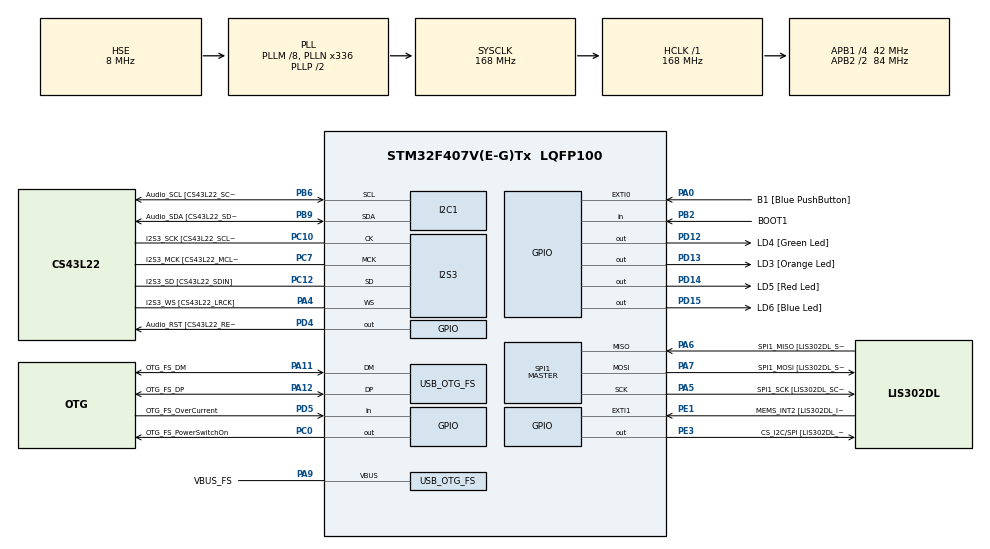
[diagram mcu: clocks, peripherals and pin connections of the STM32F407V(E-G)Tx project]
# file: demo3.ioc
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FREERTOS.BinarySemaphores01=myBinarySem01,Dynamic,NULL,Available;BonusSemaphore,Dynamic,NULL,Available
FREERTOS.Queues01=myQueue01,16,uint16_t,0,Dynamic,NULL,NULL;evaluateQueue,16,uint16_t,0,Dynamic,NULL,NULL;displayQueue,16,uint16_t,0,Dynamic,NULL,NULL
FREERTOS.Tasks01=defaultTask,24,128,StartDefaultTask,Default,NULL,Dynamic,NULL,NULL;producerTask,8,128,StartTask02,Default,NULL,Dynamic,NULL,NULL;consumerTask,8,128,StartTask03,Default,NULL,Dynamic,NULL,NULL;BonusTask1UserT,8,128,StartUserTasteTask,Default,NULL,Dynamic,NULL,NULL;BonusTaskRandom,8,128,StartBonusTaskRandomGen,Default,NULL,Dynamic,NULL,NULL;BonusTaskAuswer,8,128,StartBonusTaskAuswertung,Default,NULL,Dynamic,NULL,NULL;BoDisplayTas,8,128,StartBoDisplay,Default,NULL,Dynamic,NULL,NULL
FREERTOS.Timers01=myTimer01,Callback01,osTimerPeriodic,Default,NULL,Dynamic,NULL
I2S3.AudioFreq-Half_Duplex_Master=I2S_AUDIOFREQ_96K
I2S3.ErrorAudioFreq=-2.34 %
I2S3.ErrorAudioFreq-Half_Duplex_Master=0.8 %
I2S3.FullDuplexMode=I2S_FULLDUPLEXMODE_DISABLE
I2S3.Instance=SPI$Index
I2S3.RealAudioFreq=93.75 KHz
I2S3.RealAudioFreq-Half_Duplex_Master=96.774 KHz
I2S3.VirtualMode=I2S_MODE_MASTER
Mcu.Family=STM32F4
Mcu.Name=STM32F407V(E-G)Tx
Mcu.Package=LQFP100
NVIC.OTG_FS_IRQn=true\:5\:0\:false\:false\:true\:true\:true\:true\:true
NVIC.PriorityGroup=NVIC_PRIORITYGROUP_4
NVIC.TIM6_DAC_IRQn=true\:15\:0\:false\:false\:true\:false\:false\:true\:true
NVIC.TimeBase=TIM6_DAC_IRQn
NVIC.TimeBaseIP=TIM6
PA0-WKUP.GPIO_Label=B1 [Blue PushButton]
PA0-WKUP.GPIO_ModeDefaultEXTI=GPIO_MODE_EVT_RISING
PA0-WKUP.GPIO_PuPd=GPIO_NOPULL
PA0-WKUP.Signal=GPXTI0
PA10.GPIO_Label=OTG_FS_ID
PA10.GPIO_Mode=GPIO_MODE_AF_PP
PA10.GPIO_PuPd=GPIO_NOPULL
PA10.GPIO_Speed=GPIO_SPEED_FREQ_LOW
PA10.Signal=USB_OTG_FS_ID
PA11.GPIO_Label=OTG_FS_DM
PA11.GPIO_Mode=GPIO_MODE_AF_PP
PA11.GPIO_PuPd=GPIO_NOPULL
PA11.GPIO_Speed=GPIO_SPEED_FREQ_LOW
PA11.Mode=Host_Only
PA11.Signal=USB_OTG_FS_DM
PA12.GPIO_Label=OTG_FS_DP
PA12.GPIO_Mode=GPIO_MODE_AF_PP
PA12.GPIO_PuPd=GPIO_NOPULL
PA12.GPIO_Speed=GPIO_SPEED_FREQ_LOW
PA12.Mode=Host_Only
PA12.Signal=USB_OTG_FS_DP
PA13.GPIO_Label=SWDIO
PA13.Mode=Serial_Wire
PA13.Signal=SYS_JTMS-SWDIO
PA14.GPIO_Label=SWCLK
PA14.Mode=Serial_Wire
PA14.Signal=SYS_JTCK-SWCLK
PA4.GPIO_Label=I2S3_WS [CS43L22_LRCK]
PA4.GPIO_Mode=GPIO_MODE_AF_PP
PA4.GPIO_PuPd=GPIO_NOPULL
PA4.GPIO_Speed=GPIO_SPEED_FREQ_LOW
PA4.Mode=Half_Duplex_Master
PA4.Signal=I2S3_WS
PA5.GPIO_Label=SPI1_SCK [LIS302DL_SCL/SPC]
PA5.GPIO_Mode=GPIO_MODE_AF_PP
PA5.GPIO_PuPd=GPIO_NOPULL
PA5.GPIO_Speed=GPIO_SPEED_FREQ_LOW
PA5.Mode=Full_Duplex_Master
PA5.Signal=SPI1_SCK
PA6.GPIO_Label=SPI1_MISO [LIS302DL_SDO]
PA6.GPIO_Mode=GPIO_MODE_AF_PP
PA6.GPIO_PuPd=GPIO_NOPULL
PA6.GPIO_Speed=GPIO_SPEED_FREQ_LOW
PA6.Mode=Full_Duplex_Master
PA6.Signal=SPI1_MISO
PA7.GPIO_Label=SPI1_MOSI [LIS302DL_SDA/SDI/SDO]
PA7.GPIO_Mode=GPIO_MODE_AF_PP
PA7.GPIO_PuPd=GPIO_NOPULL
PA7.GPIO_Speed=GPIO_SPEED_FREQ_LOW
PA7.Mode=Full_Duplex_Master
PA7.Signal=SPI1_MOSI
PA9.GPIO_Label=VBUS_FS
PA9.GPIO_Mode=GPIO_MODE_INPUT
PA9.GPIO_PuPd=GPIO_NOPULL
PA9.Mode=Activate_VBUS
PA9.Signal=USB_OTG_FS_VBUS
PB10.GPIO_Label=CLK_IN [MP45DT02_CLK]
PB10.GPIO_Mode=GPIO_MODE_AF_PP
PB10.GPIO_PuPd=GPIO_NOPULL
PB10.GPIO_Speed=GPIO_SPEED_FREQ_LOW
PB10.Signal=I2S2_CK
PB2.GPIO_Label=BOOT1
PB2.GPIO_Mode=GPIO_MODE_INPUT
PB2.GPIO_PuPd=GPIO_NOPULL
PB2.Signal=GPIO_Input
PB3.GPIO_Label=SWO
PB3.Signal=SYS_JTDO-SWO
PB6.GPIO_Label=Audio_SCL [CS43L22_SCL]
PB6.GPIO_Mode=GPIO_MODE_AF_OD
PB6.GPIO_Pu=GPIO_PULLUP
PB6.GPIO_PuPd=GPIO_NOPULL
PB6.GPIO_Speed=GPIO_SPEED_FREQ_LOW
PB6.Mode=I2C
PB6.Signal=I2C1_SCL
PB9.GPIO_Label=Audio_SDA [CS43L22_SDA]
PB9.GPIO_Mode=GPIO_MODE_AF_OD
PB9.GPIO_Pu=GPIO_PULLUP
PB9.GPIO_PuPd=GPIO_NOPULL
PB9.GPIO_Speed=GPIO_SPEED_FREQ_LOW
PB9.Mode=I2C
PB9.Signal=I2C1_SDA
PC0.GPIO_Label=OTG_FS_PowerSwitchOn
PC0.GPIO_PuPd=GPIO_NOPULL
PC0.GPIO_Speed=GPIO_SPEED_FREQ_LOW
PC0.PinState=GPIO_PIN_SET
PC0.Signal=GPIO_Output
PC10.GPIO_Label=I2S3_SCK [CS43L22_SCLK]
PC10.GPIO_Mode=GPIO_MODE_AF_PP
PC10.GPIO_PuPd=GPIO_NOPULL
PC10.GPIO_Speed=GPIO_SPEED_FREQ_LOW
PC10.Mode=Half_Duplex_Master
PC10.Signal=I2S3_CK
PC12.GPIO_Label=I2S3_SD [CS43L22_SDIN]
PC12.GPIO_Mode=GPIO_MODE_AF_PP
PC12.GPIO_PuPd=GPIO_NOPULL
PC12.GPIO_Speed=GPIO_SPEED_FREQ_LOW
PC12.Mode=Half_Duplex_Master
PC12.Signal=I2S3_SD
PC14-OSC32_IN.GPIO_Label=PC14-OSC32_IN
PC14-OSC32_IN.Mode=LSE-External-Oscillator
PC14-OSC32_IN.Signal=RCC_OSC32_IN
PC15-OSC32_OUT.GPIO_Label=PC15-OSC32_OUT
PC15-OSC32_OUT.Mode=LSE-External-Oscillator
PC15-OSC32_OUT.Signal=RCC_OSC32_OUT
PC3.GPIO_Label=PDM_OUT [MP45DT02_DOUT]
PC3.GPIO_Mode=GPIO_MODE_AF_PP
PC3.GPIO_PuPd=GPIO_NOPULL
PC3.GPIO_Speed=GPIO_SPEED_FREQ_LOW
PC3.Signal=I2S2_SD
PC7.GPIO_Label=I2S3_MCK [CS43L22_MCLK]
PC7.GPIO_Mode=GPIO_MODE_AF_PP
PC7.GPIO_PuPd=GPIO_NOPULL
PC7.GPIO_Speed=GPIO_SPEED_FREQ_LOW
PC7.Mode=Master_Clock_Activated
PC7.Signal=I2S3_MCK
PD12.GPIO_Label=LD4 [Green Led]
PD12.GPIO_PuPd=GPIO_NOPULL
PD12.GPIO_Speed=GPIO_SPEED_FREQ_LOW
PD12.Signal=GPIO_Output
PD13.GPIO_Label=LD3 [Orange Led]
PD13.GPIO_PuPd=GPIO_NOPULL
PD13.GPIO_Speed=GPIO_SPEED_FREQ_LOW
PD13.Signal=GPIO_Output
PD14.GPIO_Label=LD5 [Red Led]
PD14.GPIO_PuPd=GPIO_NOPULL
PD14.GPIO_Speed=GPIO_SPEED_FREQ_LOW
PD14.Signal=GPIO_Output
PD15.GPIO_Label=LD6 [Blue Led]
PD15.GPIO_PuPd=GPIO_NOPULL
PD15.GPIO_Speed=GPIO_SPEED_FREQ_LOW
PD15.Signal=GPIO_Output
PD4.GPIO_Label=Audio_RST [CS43L22_RESET]
PD4.GPIO_PuPd=GPIO_NOPULL
PD4.GPIO_Speed=GPIO_SPEED_FREQ_LOW
PD4.Signal=GPIO_Output
PD5.GPIO_Label=OTG_FS_OverCurrent
PD5.GPIO_Mode=GPIO_MODE_INPUT
PD5.GPIO_PuPd=GPIO_NOPULL
PD5.Signal=GPIO_Input
PE1.GPIO_Label=MEMS_INT2 [LIS302DL_INT2]
PE1.GPIO_ModeDefaultEXTI=GPIO_MODE_EVT_RISING
PE1.GPIO_PuPd=GPIO_NOPULL
PE1.Signal=GPXTI1
PE3.GPIO_Label=CS_I2C/SPI [LIS302DL_CS_I2C/SPI]
PE3.GPIO_PuPd=GPIO_NOPULL
PE3.GPIO_Speed=GPIO_SPEED_FREQ_LOW
PE3.Signal=GPIO_Output
PH0-OSC_IN.GPIO_Label=PH0-OSC_IN
PH0-OSC_IN.Mode=HSE-External-Oscillator
PH0-OSC_IN.Signal=RCC_OSC_IN
PH1-OSC_OUT.GPIO_Label=PH1-OSC_OUT
PH1-OSC_OUT.Mode=HSE-External-Oscillator
PH1-OSC_OUT.Signal=RCC_OSC_OUT
ProjectManager.HeapSize=0x200
ProjectManager.StackSize=0x400
ProjectManager.TargetToolchain=STM32CubeIDE
RCC.48MHZClocksFreq_Value=48000000
RCC.AHBFreq_Value=168000000
RCC.APB1CLKDivider=RCC_HCLK_DIV4
RCC.APB1Freq_Value=42000000
RCC.APB1TimFreq_Value=84000000
RCC.APB2CLKDivider=RCC_HCLK_DIV2
RCC.APB2Freq_Value=84000000
RCC.APB2TimFreq_Value=168000000
RCC.CortexFreq_Value=168000000
RCC.HCLKFreq_Value=168000000
RCC.HSE_VALUE=8000000
RCC.HSI_VALUE=16000000
RCC.PLLM=8
RCC.PLLN=336
RCC.PLLQ=7
RCC.SYSCLKFreq_VALUE=168000000
RCC.SYSCLKSource=RCC_SYSCLKSOURCE_PLLCLK
RCC.VCOOutputFreq_Value=336000000
SPI1.BaudRatePrescaler-Full_Duplex_Master=SPI_BAUDRATEPRESCALER_2
SPI1.CalculateBaudRate-Full_Duplex_Master=42.0 MBits/s
SPI1.Direction=SPI_DIRECTION_2LINES
SPI1.Mode=SPI_MODE_MASTER
SPI1.Mode-Full_Duplex_Master=SPI_MODE_MASTER
SPI1.VirtualType=VM_MASTER
TIM7.Period=999
TIM7.Prescaler=83
USB_HOST.BSP.number=1
USB_HOST.USBH_HandleTypeDef-CDC_FS=hUsbHostFS
USB_HOST.VirtualModeFS=Cdc
USB_HOST0.BSP.STBoard=false
USB_HOST0.BSP.api=Unknown
USB_HOST0.BSP.instance=PC0
USB_HOST0.BSP.ip=GPIO
USB_HOST0.BSP.mode=Output
USB_HOST0.BSP.name=Drive_VBUS_FS
USB_HOST0.BSP.solution=PC0
USB_OTG_FS.VirtualMode=Host_Only
USB_OTG_FS.phy_itface=HCD_PHY_EMBEDDED
VP_FREERTOS_VS_CMSIS_V2.Mode=CMSIS_V2
VP_RNG_VS_RNG.Mode=RNG_Activate
VP_SYS_VS_tim6.Mode=TIM6
VP_TIM7_VS_ClockSourceINT.Mode=Enable_Timer
VP_USB_HOST_VS_USB_HOST_CDC_FS.Mode=CDC_FS
board=STM32F407G-DISC1

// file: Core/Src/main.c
/* USER CODE BEGIN Header */
/**
  ******************************************************************************
  * @file           : main.c
  * @brief          : Main program body
  ******************************************************************************
  * @attention
  *
  * Copyright (c) 2025 STMicroelectronics.
  * All rights reserved.
  *
  * This software is licensed under terms that can be found in the LICENSE file
  * in the root directory of this software component.
  * If no LICENSE file comes with this software, it is provided AS-IS.
  *
  ******************************************************************************
  */
/* USER CODE END Header */
#include "main.h"
#include "cmsis_os.h"
#include "usb_host.h"

/* USER CODE BEGIN Includes */
#include "stdio.h"
#include "display.h"
/* USER CODE END Includes */

/* USER CODE BEGIN PTD */
typedef enum{
  MSG_BUTTON,
  MSG_AVERAGE,
  MSG_ADC
}MessageType;

typedef struct{
	MessageType type;
	uint32_t value;
}DisplayMessage;
/* USER CODE END PTD */

I2C_HandleTypeDef hi2c1;

I2S_HandleTypeDef hi2s3;

RNG_HandleTypeDef hrng;

SPI_HandleTypeDef hspi1;

TIM_HandleTypeDef htim7;

/* Definitions for defaultTask */
osThreadId_t defaultTaskHandle;
const osThreadAttr_t defaultTask_attributes = {
  .name = "defaultTask",
  .stack_size = 128 * 4,
  .priority = (osPriority_t) osPriorityNormal,
};
/* Definitions for producerTask */
osThreadId_t producerTaskHandle;
const osThreadAttr_t producerTask_attributes = {
  .name = "producerTask",
  .stack_size = 128 * 4,
  .priority = (osPriority_t) osPriorityLow,
};
/* Definitions for consumerTask */
osThreadId_t consumerTaskHandle;
const osThreadAttr_t consumerTask_attributes = {
  .name = "consumerTask",
  .stack_size = 128 * 4,
  .priority = (osPriority_t) osPriorityLow,
};
/* Definitions for BonusTask1UserT */
osThreadId_t BonusTask1UserTHandle;
const osThreadAttr_t BonusTask1UserT_attributes = {
  .name = "BonusTask1UserT",
  .stack_size = 128 * 4,
  .priority = (osPriority_t) osPriorityLow,
};
/* Definitions for BonusTaskRandom */
osThreadId_t BonusTaskRandomHandle;
const osThreadAttr_t BonusTaskRandom_attributes = {
  .name = "BonusTaskRandom",
  .stack_size = 128 * 4,
  .priority = (osPriority_t) osPriorityLow,
};
/* Definitions for BonusTaskAuswer */
osThreadId_t BonusTaskAuswerHandle;
const osThreadAttr_t BonusTaskAuswer_attributes = {
  .name = "BonusTaskAuswer",
  .stack_size = 128 * 4,
  .priority = (osPriority_t) osPriorityLow,
};
/* Definitions for BoDisplayTas */
osThreadId_t BoDisplayTasHandle;
const osThreadAttr_t BoDisplayTas_attributes = {
  .name = "BoDisplayTas",
  .stack_size = 128 * 4,
  .priority = (osPriority_t) osPriorityLow,
};
/* Definitions for myQueue01 */
osMessageQueueId_t myQueue01Handle;
const osMessageQueueAttr_t myQueue01_attributes = {
  .name = "myQueue01"
};
/* Definitions for evaluateQueue */
osMessageQueueId_t evaluateQueueHandle;
const osMessageQueueAttr_t evaluateQueue_attributes = {
  .name = "evaluateQueue"
};
/* Definitions for displayQueue */
osMessageQueueId_t displayQueueHandle;
const osMessageQueueAttr_t displayQueue_attributes = {
  .name = "displayQueue"
};
/* Definitions for myTimer01 */
osTimerId_t myTimer01Handle;
const osTimerAttr_t myTimer01_attributes = {
  .name = "myTimer01"
};
/* Definitions for myBinarySem01 */
osSemaphoreId_t myBinarySem01Handle;
const osSemaphoreAttr_t myBinarySem01_attributes = {
  .name = "myBinarySem01"
};
/* Definitions for BonusSemaphore */
osSemaphoreId_t BonusSemaphoreHandle;
const osSemaphoreAttr_t BonusSemaphore_attributes = {
  .name = "BonusSemaphore"
};

void SystemClock_Config(void);
static void MX_GPIO_Init(void);
static void MX_I2C1_Init(void);
static void MX_I2S3_Init(void);
static void MX_SPI1_Init(void);
static void MX_TIM7_Init(void);
static void MX_RNG_Init(void);
void StartDefaultTask(void *argument);
void StartTask02(void *argument);
void StartTask03(void *argument);
void StartUserTasteTask(void *argument);
void StartBonusTaskRandomGen(void *argument);
void StartBonusTaskAuswertung(void *argument);
void StartBoDisplay(void *argument);
void StartBonusTaskAdc(void *argument);
void Callback01(void *argument);

/* USER CODE BEGIN 0 */
  uint32_t count = 0;
	uint32_t sum = 0;
	uint32_t average = 0;
  volatile uint32_t ledBlinkCounter = 0;
/* USER CODE END 0 */

int main(void)
{

  /* MCU Configuration--------------------------------------------------------*/

  /* Reset of all peripherals, Initializes the Flash interface and the Systick. */
  HAL_Init();

  /* Configure the system clock */
  SystemClock_Config();

  /* Initialize all configured peripherals */
  MX_GPIO_Init();
  MX_I2C1_Init();
  MX_I2S3_Init();
  MX_SPI1_Init();
  MX_TIM7_Init();
  MX_RNG_Init();
  /* USER CODE BEGIN 2 */
  LCD_Init();
  /* USER CODE END 2 */

  /* Init scheduler */
  osKernelInitialize();

  /* Create the semaphores(s) */
  /* creation of myBinarySem01 */
  myBinarySem01Handle = osSemaphoreNew(1, 1, &myBinarySem01_attributes);

  /* creation of BonusSemaphore */
  BonusSemaphoreHandle = osSemaphoreNew(1, 1, &BonusSemaphore_attributes);

  /* Create the timer(s) */
  /* creation of myTimer01 */
  myTimer01Handle = osTimerNew(Callback01, osTimerPeriodic, NULL, &myTimer01_attributes);

  /* Create the queue(s) */
  /* creation of myQueue01 */
  myQueue01Handle = osMessageQueueNew (16, sizeof(uint32_t), &myQueue01_attributes);

  /* creation of evaluateQueue */
  evaluateQueueHandle = osMessageQueueNew (16, sizeof(uint32_t), &evaluateQueue_attributes);

  /* creation of displayQueue */
  displayQueueHandle = osMessageQueueNew (16, sizeof(DisplayMessage), &displayQueue_attributes);

  /* Create the thread(s) */
  /* creation of defaultTask */
  defaultTaskHandle = osThreadNew(StartDefaultTask, NULL, &defaultTask_attributes);

  /* creation of producerTask */
  producerTaskHandle = osThreadNew(StartTask02, NULL, &producerTask_attributes);

  /* creation of consumerTask */
  consumerTaskHandle = osThreadNew(StartTask03, NULL, &consumerTask_attributes);

  /* creation of BonusTask1UserT */
  BonusTask1UserTHandle = osThreadNew(StartUserTasteTask, NULL, &BonusTask1UserT_attributes);

  /* creation of BonusTaskRandom */
  BonusTaskRandomHandle = osThreadNew(StartBonusTaskRandomGen, NULL, &BonusTaskRandom_attributes);

  /* creation of BonusTaskAuswer */
  BonusTaskAuswerHandle = osThreadNew(StartBonusTaskAuswertung, NULL, &BonusTaskAuswer_attributes);

  /* creation of BoDisplayTas */
  BoDisplayTasHandle = osThreadNew(StartBoDisplay, NULL, &BoDisplayTas_attributes);

  /* creation of a simple ADC task (simulated via RNG to keep it functional) */
  static const osThreadAttr_t BonusTaskAdc_attributes = {
    .name = "BonusTaskADC",
    .stack_size = 128 * 4,
    .priority = (osPriority_t) osPriorityLow,
  };
  (void)osThreadNew(StartBonusTaskAdc, NULL, &BonusTaskAdc_attributes);

  /* Start scheduler */
  osKernelStart();

  /* We should never get here as control is now taken by the scheduler */

  /* Infinite loop */
  while (1)
  {

  }
}

void SystemClock_Config(void)
{
  RCC_OscInitTypeDef RCC_OscInitStruct = {0};
  RCC_ClkInitTypeDef RCC_ClkInitStruct = {0};

  /** Configure the main internal regulator output voltage
  */
  __HAL_RCC_PWR_CLK_ENABLE();
  __HAL_PWR_VOLTAGESCALING_CONFIG(PWR_REGULATOR_VOLTAGE_SCALE1);

  /** Initializes the RCC Oscillators according to the specified parameters
  * in the RCC_OscInitTypeDef structure.
  */
  RCC_OscInitStruct.OscillatorType = RCC_OSCILLATORTYPE_HSE;
  RCC_OscInitStruct.HSEState = RCC_HSE_ON;
  RCC_OscInitStruct.PLL.PLLState = RCC_PLL_ON;
  RCC_OscInitStruct.PLL.PLLSource = RCC_PLLSOURCE_HSE;
  RCC_OscInitStruct.PLL.PLLM = 8;
  RCC_OscInitStruct.PLL.PLLN = 336;
  RCC_OscInitStruct.PLL.PLLP = RCC_PLLP_DIV2;
  RCC_OscInitStruct.PLL.PLLQ = 7;
  if (HAL_RCC_OscConfig(&RCC_OscInitStruct) != HAL_OK)
  {
    Error_Handler();
  }

  /** Initializes the CPU, AHB and APB buses clocks
  */
  RCC_ClkInitStruct.ClockType = RCC_CLOCKTYPE_HCLK|RCC_CLOCKTYPE_SYSCLK
                              |RCC_CLOCKTYPE_PCLK1|RCC_CLOCKTYPE_PCLK2;
  RCC_ClkInitStruct.SYSCLKSource = RCC_SYSCLKSOURCE_PLLCLK;
  RCC_ClkInitStruct.AHBCLKDivider = RCC_SYSCLK_DIV1;
  RCC_ClkInitStruct.APB1CLKDivider = RCC_HCLK_DIV4;
  RCC_ClkInitStruct.APB2CLKDivider = RCC_HCLK_DIV2;

  if (HAL_RCC_ClockConfig(&RCC_ClkInitStruct, FLASH_LATENCY_5) != HAL_OK)
  {
    Error_Handler();
  }
}

static void MX_I2C1_Init(void)
{

  hi2c1.Instance = I2C1;
  hi2c1.Init.ClockSpeed = 100000;
  hi2c1.Init.DutyCycle = I2C_DUTYCYCLE_2;
  hi2c1.Init.OwnAddress1 = 0;
  hi2c1.Init.AddressingMode = I2C_ADDRESSINGMODE_7BIT;
  hi2c1.Init.DualAddressMode = I2C_DUALADDRESS_DISABLE;
  hi2c1.Init.OwnAddress2 = 0;
  hi2c1.Init.GeneralCallMode = I2C_GENERALCALL_DISABLE;
  hi2c1.Init.NoStretchMode = I2C_NOSTRETCH_DISABLE;
  if (HAL_I2C_Init(&hi2c1) != HAL_OK)
  {
    Error_Handler();
  }

}

static void MX_I2S3_Init(void)
{

  hi2s3.Instance = SPI3;
  hi2s3.Init.Mode = I2S_MODE_MASTER_TX;
  hi2s3.Init.Standard = I2S_STANDARD_PHILIPS;
  hi2s3.Init.DataFormat = I2S_DATAFORMAT_16B;
  hi2s3.Init.MCLKOutput = I2S_MCLKOUTPUT_ENABLE;
  hi2s3.Init.AudioFreq = I2S_AUDIOFREQ_96K;
  hi2s3.Init.CPOL = I2S_CPOL_LOW;
  hi2s3.Init.ClockSource = I2S_CLOCK_PLL;
  hi2s3.Init.FullDuplexMode = I2S_FULLDUPLEXMODE_DISABLE;
  if (HAL_I2S_Init(&hi2s3) != HAL_OK)
  {
    Error_Handler();
  }

}

static void MX_RNG_Init(void)
{

  hrng.Instance = RNG;
  if (HAL_RNG_Init(&hrng) != HAL_OK)
  {
    Error_Handler();
  }

}

static void MX_SPI1_Init(void)
{

  /* SPI1 parameter configuration*/
  hspi1.Instance = SPI1;
  hspi1.Init.Mode = SPI_MODE_MASTER;
  hspi1.Init.Direction = SPI_DIRECTION_2LINES;
  hspi1.Init.DataSize = SPI_DATASIZE_8BIT;
  hspi1.Init.CLKPolarity = SPI_POLARITY_LOW;
  hspi1.Init.CLKPhase = SPI_PHASE_1EDGE;
  hspi1.Init.NSS = SPI_NSS_SOFT;
  hspi1.Init.BaudRatePrescaler = SPI_BAUDRATEPRESCALER_2;
  hspi1.Init.FirstBit = SPI_FIRSTBIT_MSB;
  hspi1.Init.TIMode = SPI_TIMODE_DISABLE;
  hspi1.Init.CRCCalculation = SPI_CRCCALCULATION_DISABLE;
  hspi1.Init.CRCPolynomial = 10;
  if (HAL_SPI_Init(&hspi1) != HAL_OK)
  {
    Error_Handler();
  }

}

static void MX_TIM7_Init(void)
{

  TIM_MasterConfigTypeDef sMasterConfig = {0};

  htim7.Instance = TIM7;
  htim7.Init.Prescaler = 83;
  htim7.Init.CounterMode = TIM_COUNTERMODE_UP;
  htim7.Init.Period = 999;
  htim7.Init.AutoReloadPreload = TIM_AUTORELOAD_PRELOAD_DISABLE;
  if (HAL_TIM_Base_Init(&htim7) != HAL_OK)
  {
    Error_Handler();
  }
  sMasterConfig.MasterOutputTrigger = TIM_TRGO_RESET;
  sMasterConfig.MasterSlaveMode = TIM_MASTERSLAVEMODE_DISABLE;
  if (HAL_TIMEx_MasterConfigSynchronization(&htim7, &sMasterConfig) != HAL_OK)
  {
    Error_Handler();
  }

}

static void MX_GPIO_Init(void)
{
  GPIO_InitTypeDef GPIO_InitStruct = {0};

  /* GPIO Ports Clock Enable */
  __HAL_RCC_GPIOE_CLK_ENABLE();
  __HAL_RCC_GPIOC_CLK_ENABLE();
  __HAL_RCC_GPIOH_CLK_ENABLE();
  __HAL_RCC_GPIOA_CLK_ENABLE();
  __HAL_RCC_GPIOB_CLK_ENABLE();
  __HAL_RCC_GPIOD_CLK_ENABLE();

  /*Configure GPIO pin Output Level */
  HAL_GPIO_WritePin(CS_I2C_SPI_GPIO_Port, CS_I2C_SPI_Pin, GPIO_PIN_RESET);

  /*Configure GPIO pin Output Level */
  HAL_GPIO_WritePin(OTG_FS_PowerSwitchOn_GPIO_Port, OTG_FS_PowerSwitchOn_Pin, GPIO_PIN_SET);

  /*Configure GPIO pin Output Level */
  HAL_GPIO_WritePin(GPIOD, LD4_Pin|LD3_Pin|LD5_Pin|LD6_Pin
                          |Audio_RST_Pin, GPIO_PIN_RESET);

  /*Configure GPIO pin : CS_I2C_SPI_Pin */
  GPIO_InitStruct.Pin = CS_I2C_SPI_Pin;
  GPIO_InitStruct.Mode = GPIO_MODE_OUTPUT_PP;
  GPIO_InitStruct.Pull = GPIO_NOPULL;
  GPIO_InitStruct.Speed = GPIO_SPEED_FREQ_LOW;
  HAL_GPIO_Init(CS_I2C_SPI_GPIO_Port, &GPIO_InitStruct);

  /*Configure GPIO pin : OTG_FS_PowerSwitchOn_Pin */
  GPIO_InitStruct.Pin = OTG_FS_PowerSwitchOn_Pin;
  GPIO_InitStruct.Mode = GPIO_MODE_OUTPUT_PP;
  GPIO_InitStruct.Pull = GPIO_NOPULL;
  GPIO_InitStruct.Speed = GPIO_SPEED_FREQ_LOW;
  HAL_GPIO_Init(OTG_FS_PowerSwitchOn_GPIO_Port, &GPIO_InitStruct);

  /*Configure GPIO pin : PDM_OUT_Pin */
  GPIO_InitStruct.Pin = PDM_OUT_Pin;
  GPIO_InitStruct.Mode = GPIO_MODE_AF_PP;
  GPIO_InitStruct.Pull = GPIO_NOPULL;
  GPIO_InitStruct.Speed = GPIO_SPEED_FREQ_LOW;
  GPIO_InitStruct.Alternate = GPIO_AF5_SPI2;
  HAL_GPIO_Init(PDM_OUT_GPIO_Port, &GPIO_InitStruct);

  /*Configure GPIO pin : B1_Pin */
  GPIO_InitStruct.Pin = B1_Pin;
  GPIO_InitStruct.Mode = GPIO_MODE_EVT_RISING;
  GPIO_InitStruct.Pull = GPIO_NOPULL;
  HAL_GPIO_Init(B1_GPIO_Port, &GPIO_InitStruct);

  /*Configure GPIO pin : BOOT1_Pin */
  GPIO_InitStruct.Pin = BOOT1_Pin;
  GPIO_InitStruct.Mode = GPIO_MODE_INPUT;
  GPIO_InitStruct.Pull = GPIO_NOPULL;
  HAL_GPIO_Init(BOOT1_GPIO_Port, &GPIO_InitStruct);

  /*Configure GPIO pin : CLK_IN_Pin */
  GPIO_InitStruct.Pin = CLK_IN_Pin;
  GPIO_InitStruct.Mode = GPIO_MODE_AF_PP;
  GPIO_InitStruct.Pull = GPIO_NOPULL;
  GPIO_InitStruct.Speed = GPIO_SPEED_FREQ_LOW;
  GPIO_InitStruct.Alternate = GPIO_AF5_SPI2;
  HAL_GPIO_Init(CLK_IN_GPIO_Port, &GPIO_InitStruct);

  /*Configure GPIO pins : LD4_Pin LD3_Pin LD5_Pin LD6_Pin
                           Audio_RST_Pin */
  GPIO_InitStruct.Pin = LD4_Pin|LD3_Pin|LD5_Pin|LD6_Pin
                          |Audio_RST_Pin;
  GPIO_InitStruct.Mode = GPIO_MODE_OUTPUT_PP;
  GPIO_InitStruct.Pull = GPIO_NOPULL;
  GPIO_InitStruct.Speed = GPIO_SPEED_FREQ_LOW;
  HAL_GPIO_Init(GPIOD, &GPIO_InitStruct);

  /*Configure GPIO pin : OTG_FS_OverCurrent_Pin */
  GPIO_InitStruct.Pin = OTG_FS_OverCurrent_Pin;
  GPIO_InitStruct.Mode = GPIO_MODE_INPUT;
  GPIO_InitStruct.Pull = GPIO_NOPULL;
  HAL_GPIO_Init(OTG_FS_OverCurrent_GPIO_Port, &GPIO_InitStruct);

  /*Configure GPIO pin : MEMS_INT2_Pin */
  GPIO_InitStruct.Pin = MEMS_INT2_Pin;
  GPIO_InitStruct.Mode = GPIO_MODE_EVT_RISING;
  GPIO_InitStruct.Pull = GPIO_NOPULL;
  HAL_GPIO_Init(MEMS_INT2_GPIO_Port, &GPIO_InitStruct);

}

void StartDefaultTask(void *argument)
{
  /* init code for USB_HOST */
  MX_USB_HOST_Init();
  /* USER CODE BEGIN 5 */
  osTimerStart(myTimer01Handle, 500);
  //HAL_TIM_Base_Start_IT(&htim7);
  HAL_TIM_Base_Start_IT(&htim7);
  /* Infinite loop */
  for(;;)
  {

	  if(HAL_GPIO_ReadPin(GPIOA, GPIO_PIN_0)){
	  	  	  HAL_GPIO_TogglePin(GPIOD, GPIO_PIN_12);
	  	  }
	  osDelay(500);

  }
  /* USER CODE END 5 */
}

void StartTask02(void *argument)
{
  /* USER CODE BEGIN StartTask02 */
	//producer
  /* Infinite loop */

  for(;;)
  {
    for(uint32_t i=1; i<=10; i++){
    	uint32_t value;
    	HAL_RNG_GenerateRandomNumber(&hrng, &value);
    	value = value%100;
    	osMessageQueuePut(myQueue01Handle, &value, 0, osWaitForever);
    	osDelay(100);
    }

    uint32_t zero = 0;
    osMessageQueuePut(myQueue01Handle, &zero, 0, osWaitForever);

    //warten bis Consumer Ergebnis fertig
    osSemaphoreAcquire(myBinarySem01Handle, osWaitForever);
    //printf("Mittelwert: %.2f\r\n", average);

    osDelay(200);
  }
  /* USER CODE END StartTask02 */
}

void StartTask03(void *argument)
{
  /* USER CODE BEGIN StartTask03 */
	//consumer
  /* Infinite loop */
	for(;;)
	{
	    uint32_t value;
	    if(osMessageQueueGet(myQueue01Handle, &value, NULL, osWaitForever) == osOK)
	    {
	        if(value == 0)
	        {
	            if(count > 0)
	                average = (float)sum / count;
	            else
	                average = 0.0f;

	            sum = 0;
	            count = 0;
	            osSemaphoreRelease(myBinarySem01Handle);
	        }
	        else
	        {
	            sum += value;
	            count++;
	        }
	    }
	}

  /* USER CODE END StartTask03 */
}

void StartUserTasteTask(void *argument)
{
  /* USER CODE BEGIN StartUserTasteTask */
  /* Infinite loop */
	for(;;)
	  {
	    uint8_t buttonState = HAL_GPIO_ReadPin(GPIOA, GPIO_PIN_0);
	    DisplayMessage msg ={MSG_BUTTON, buttonState};
	    osMessageQueuePut(displayQueueHandle, &msg, 0,0);
	    osDelay(100);
	  }

  /* USER CODE END StartUserTasteTask */
}

void StartBonusTaskRandomGen(void *argument)
{
  /* USER CODE BEGIN StartBonusTaskRandomGen */
	uint32_t randomValue =0;
    /* Infinite loop */
    for(;;)
    {
      HAL_RNG_GenerateRandomNumber (&hrng, &randomValue);
      randomValue = randomValue %100;
      osMessageQueuePut(evaluateQueueHandle, &randomValue, 0,0);
      osDelay(1000);
    }
  /* USER CODE END StartBonusTaskRandomGen */
}

void StartBonusTaskAuswertung(void *argument)
{
  /* USER CODE BEGIN StartBonusTaskAuswertung */
	uint32_t buffer[5];
	uint32_t index =0;
	/* Infinite loop */
  for(;;)
  {
    uint32_t value;
    if(osMessageQueueGet(evaluateQueueHandle, &value, NULL, osWaitForever) == osOK){
    	buffer[index++] = value;
    	if(index >=5){
    		uint32_t sum =0;
    		for(uint8_t i=0; i<5; i++){
    			sum += buffer[i];
    		}
    		uint32_t avg = sum/5;

    		DisplayMessage msg = {MSG_AVERAGE, avg};
    		osMessageQueuePut(displayQueueHandle, &msg, 0, 0);

    		index = 0;
    	}
    }
  }
  /* USER CODE END StartBonusTaskAuswertung */
}

/* USER CODE BEGIN Header_StartBonusTaskAdc */
/**
* @brief Simple ADC task (simulated using RNG) sending values to display
* @param argument: Not used
* @retval None
*/
/* USER CODE END Header_StartBonusTaskAdc */
void StartBonusTaskAdc(void *argument)
{
  /* USER CODE BEGIN StartBonusTaskAdc */
  uint32_t val;
  for(;;)
  {
    // Simulate a 12-bit ADC reading
    HAL_RNG_GenerateRandomNumber(&hrng, &val);
    val &= 0xFFF; // 0..4095
    DisplayMessage msg = {MSG_ADC, val};
    osMessageQueuePut(displayQueueHandle, &msg, 0, 0);
    osDelay(200);
  }
  /* USER CODE END StartBonusTaskAdc */
}

void StartBoDisplay(void *argument)
{
  /* USER CODE BEGIN StartBoDisplay */
  DisplayMessage msg;
  LCD_ClearDisplay(0x0000);
	/* Infinite loop */
  for(;;)
  {
    if(osMessageQueueGet(displayQueueHandle, &msg, NULL, osWaitForever) == osOK){
    	osSemaphoreAcquire(BonusSemaphoreHandle, osWaitForever);
    	switch(msg.type){
    	case MSG_BUTTON:
      if (msg.value)
        LCD_WriteString(10, 20, 0xFFFF, 0x0000, "Button: Pressed     ");
      else
        LCD_WriteString(10, 20, 0xFFFF, 0x0000, "Button: Not Pressed");
    		break;
    	case MSG_AVERAGE:
      char text[32];
      sprintf(text, "Mittelwert: %3lu   ", msg.value);
      LCD_WriteString(10, 40, 0xFFFF, 0x0000, text);
    		break;
    	case MSG_ADC:
      {
        char adcText[32];
        sprintf(adcText, "ADC: %4lu    ", msg.value);
        LCD_WriteString(10, 60, 0xFFFF, 0x0000, adcText);
      }
      break;
    	}
    	osSemaphoreRelease(BonusSemaphoreHandle);
    }
  }

  /* USER CODE END StartBoDisplay */
}

/* Callback01 function */
void Callback01(void *argument)
{
  /* USER CODE BEGIN Callback01 */

		HAL_GPIO_TogglePin(GPIOD, GPIO_PIN_12);

  /* USER CODE END Callback01 */
}

void HAL_TIM_PeriodElapsedCallback(TIM_HandleTypeDef *htim)
{
  if (htim->Instance == TIM6)
  {
    HAL_IncTick();
  }
  /* USER CODE BEGIN Callback 1 */
    if(htim->Instance == TIM7){	//TIM6 für hardwareTimerb
      ledBlinkCounter++;
      if((ledBlinkCounter%1000)==0){
  			  HAL_GPIO_TogglePin(GPIOD, GPIO_PIN_13);
  		  }
  	  }
  /* USER CODE END Callback 1 */
}

void Error_Handler(void)
{
  __disable_irq();
  while (1)
  {
  }
}
